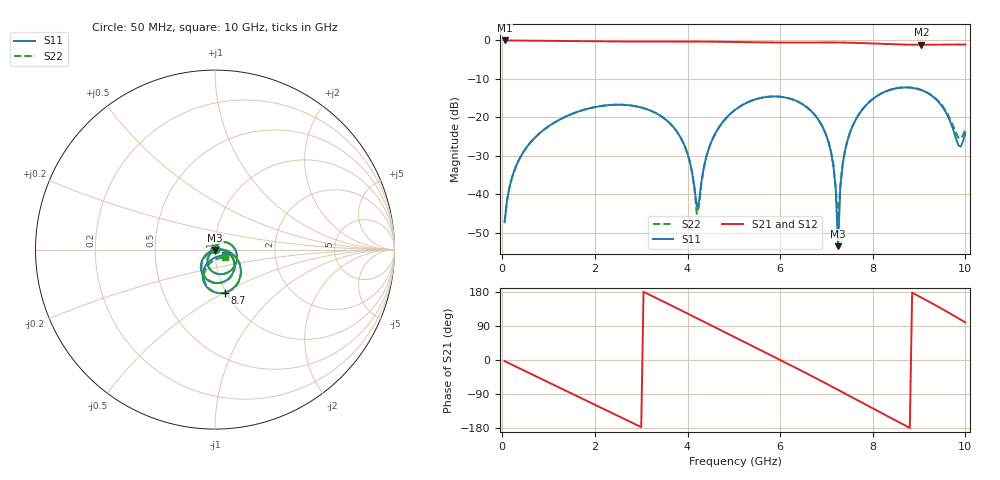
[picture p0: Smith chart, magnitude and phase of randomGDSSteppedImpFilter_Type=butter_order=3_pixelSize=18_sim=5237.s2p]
! freq	dB(S11)	phase(S11)	dB(S12)	phase(S12)
!  dB(S21)	phase(S21)	dB(S22)	phase(S22)
!S-par simulation data
#  GHz  S  DB  R 50
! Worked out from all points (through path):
!   200 points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, 50 MHz to 10 GHz, reference 50 ohm
!   highest |S21| = 0.00 dB at 50 MHz (marker M1); lowest = -1.1 dB at 9.05 GHz (marker M2)
!   group delay of S21, straight-line fit = 171 ps
!   lowest |S11| = -53.5 dB at 7.25 GHz (marker M3), VSWR 1.00, Z = 50.1 - j0.19 ohm
!   |S11| at or under -10 dB: start of sweep to end of sweep
!   |S22| runs from -47.2 to -12.2 dB; largest |S21 - S12| = 0
!   S11 on the Smith chart (normalised r, x): 50 MHz: 1.00, +0.01; 8.7 GHz: 0.99, -0.50; 10 GHz: 1.11, -0.07
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0.05  -47.23 80.2  -0.00 -3.0  -0.00 -3.0  -47.23 80.2
0.2  -36.03 75.0  -0.03 -11.9  -0.03 -11.9  -36.03 75.1
0.5  -28.20 59.3  -0.05 -29.7  -0.05 -29.7  -28.19 59.5
1.75  -18.07 -13.1  -0.19 -103.4  -0.19 -103.4  -18.06 -12.6
2.65  -16.75 -65.5  -0.28 -156.4  -0.28 -156.4  -16.75 -65.0
3.4  -19.46 -108.6  -0.30 159.0  -0.30 159.0  -19.46 -108.3
3.95  -27.75 -136.0  -0.29 125.7  -0.29 125.7  -27.78 -137.0
4.2  -43.26 -93.1  -0.30 110.4  -0.30 110.4  -45.04 -97.9
4.5  -26.76 -6.0  -0.32 92.0  -0.32 92.0  -26.78 -3.2
5.05  -17.83 -34.2  -0.41 58.1  -0.41 58.1  -17.83 -32.5
5.9  -14.56 -84.2  -0.55 6.2  -0.55 6.2  -14.55 -82.5
6.7  -18.71 -132.7  -0.53 -43.4  -0.53 -43.4  -18.69 -130.1
7.1  -29.10 -157.2  -0.53 -69.0  -0.53 -69.0  -29.04 -150.4
7.2  -38.64 -161.8  -0.53 -75.5  -0.53 -75.5  -38.14 -143.8
7.25  -53.45 -63.0  -0.54 -78.8  -0.54 -78.8  -46.80 -72.4
7.35  -32.17 5.0  -0.55 -85.3  -0.55 -85.3  -32.04 -2.2
7.5  -24.23 -3.8  -0.59 -95.1  -0.59 -95.1  -24.20 -6.0
8.35  -12.93 -56.5  -0.96 -150.3  -0.96 -150.3  -12.91 -55.7
8.7  -12.21 -77.2  -1.09 -172.7  -1.09 -172.7  -12.17 -76.0
9.05  -12.92 -97.2  -1.13 164.8  -1.13 164.8  -12.86 -95.3
9.85  -27.27 -87.2  -1.05 109.9  -1.05 109.9  -25.26 -83.9
10  -24.09 -30.7  -1.08 99.0  -1.08 99.0  -23.03 -38.3
